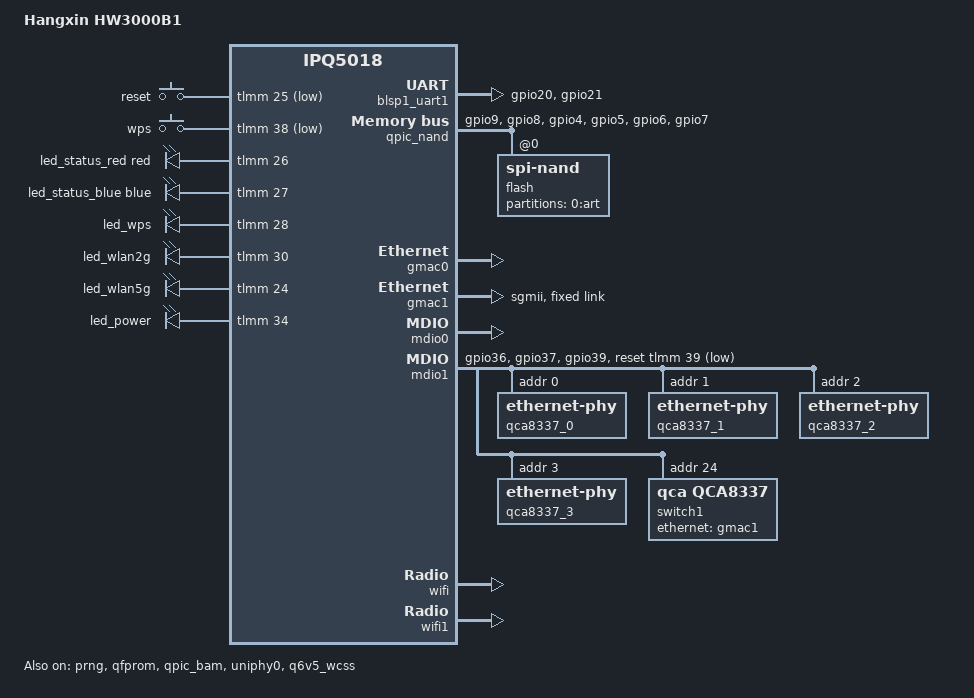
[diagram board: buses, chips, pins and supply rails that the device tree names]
// SPDX-License-Identifier: GPL-2.0-or-later OR MIT

/dts-v1/;

#include "ipq5018.dtsi"
#include "ipq5018-ess.dtsi"
#include "ipq5018-qcn6122.dtsi"
#include "ipq5018-nss.dtsi"

#include <dt-bindings/gpio/gpio.h>
#include <dt-bindings/input/input.h>
#include <dt-bindings/leds/common.h>

/*
 * Hangxin HW3000B1, booted by the stock firmware as AP-MP03.3: 256 MiB of
 * RAM, 128 MiB SPI NAND (FudanWei FM25LS01, 8-bit ECC, the ECC parameters
 * are passed by U-Boot) with the stock dual-firmware layout, QCN6122 for
 * 5 GHz. WAN is GMAC0's own GE PHY (MDIO address 7); the QCA8337 on GMAC1
 * has PHYs 0-3 on switch ports 1-4, all declared as LAN. The QCA8337's CPU
 * port is switch port 6 (SGMII). The stock vlan101 uses switch ports 2/3
 * and port 1 is the IPTV port; the socket-to-port mapping is not confirmed
 * on hardware yet.
 *
 * MAC addresses are not in 0:art (it starts with 0xff): the base MAC comes
 * from the U-Boot environment (ethaddr), set up in 02_network.
 */

/ {
	model = "Hangxin HW3000B1";
	compatible = "hangxin,hw3000b1", "qcom,ipq5018";

	reserved-memory {
		q6_region_qcn6122_1: q6-region-qcn6122-1@4d200000 {
			reg = <0x0 0x4d200000 0x0 0xd00000>;
			no-map;
		};

		m3_dump_qcn6122_1: m3-dump-qcn6122-1@4df00000 {
			reg = <0x0 0x4df00000 0x0 0x100000>;
			no-map;
		};
	};

	aliases {
		serial0 = &blsp1_uart1;
		label-mac-device = &gmac0;
		led-boot = &led_status_blue;
		led-failsafe = &led_status_red;
		led-running = &led_status_blue;
		led-upgrade = &led_status_red;
	};

	chosen {
		bootargs-append = " root=/dev/ubiblock0_1 swiotlb=1 coherent_pool=512K";
		stdout-path = "serial0:115200n8";
	};

	keys {
		compatible = "gpio-keys";
		pinctrl-0 = <&button_pins>;
		pinctrl-names = "default";

		button-reset {
			label = "reset";
			gpios = <&tlmm 25 GPIO_ACTIVE_LOW>;
			linux,code = <KEY_RESTART>;
			debounce-interval = <60>;
		};

		button-wps {
			label = "wps";
			gpios = <&tlmm 38 GPIO_ACTIVE_LOW>;
			linux,code = <KEY_WPS_BUTTON>;
			debounce-interval = <60>;
		};
	};

	leds {
		compatible = "gpio-leds";
		pinctrl-0 = <&led_pins>;
		pinctrl-names = "default";

		led_status_red: led-red {
			color = <LED_COLOR_ID_RED>;
			function = LED_FUNCTION_STATUS;
			gpios = <&tlmm 26 GPIO_ACTIVE_HIGH>;
		};

		led_status_blue: led-blue {
			color = <LED_COLOR_ID_BLUE>;
			function = LED_FUNCTION_STATUS;
			gpios = <&tlmm 27 GPIO_ACTIVE_HIGH>;
		};

		/*
		 * The stock DTB gives these four LEDs a label only (led_wps,
		 * led_2g, led_5g, led_power), so their colour is not known;
		 * they carry the function only, which is also the LED name:
		 * wps, wlan-2ghz, wlan-5ghz and power. Not confirmed on
		 * hardware yet.
		 */
		led_wps: led-wps {
			function = LED_FUNCTION_WPS;
			gpios = <&tlmm 28 GPIO_ACTIVE_HIGH>;
		};

		led_wlan2g: led-wlan-2g {
			function = LED_FUNCTION_WLAN_2GHZ;
			gpios = <&tlmm 30 GPIO_ACTIVE_HIGH>;
		};

		led_wlan5g: led-wlan-5g {
			function = LED_FUNCTION_WLAN_5GHZ;
			gpios = <&tlmm 24 GPIO_ACTIVE_HIGH>;
		};

		led_power: led-power {
			function = LED_FUNCTION_POWER;
			gpios = <&tlmm 34 GPIO_ACTIVE_HIGH>;
			default-state = "on";
		};
	};
};

/* the stock TZ takes 4 MiB here (upstream reserves 2 MiB) */
&tz_region {
	reg = <0x0 0x4ac00000 0x0 0x400000>;
};

&sleep_clk {
	clock-frequency = <32000>;
};

&xo_board_clk {
	clock-div = <4>;
	clock-mult = <1>;
};

&blsp1_uart1 {
	status = "okay";

	pinctrl-0 = <&serial_0_pins>;
	pinctrl-names = "default";
};

&prng {
	status = "okay";
};

&qfprom {
	status = "okay";
};

&qpic_bam {
	status = "okay";
};

&qpic_nand {
	pinctrl-0 = <&qpic_pins>;
	pinctrl-names = "default";
	status = "okay";

	flash@0 {
		compatible = "spi-nand";
		reg = <0>;
		nand-ecc-engine = <&qpic_nand>;
		nand-bus-width = <8>;

		partitions {
			compatible = "qcom,smem-part";

			partition-0-art {
				label = "0:art";
				read-only;
			};
		};
	};
};

&uniphy0 {
	status = "okay";

	assigned-clocks = <&uniphy0 UNIPHY_CLK_REF>;
	assigned-clock-rates = <UNIPHY_REFCLK_25MHZ>;
};

/* MAC0 -> IPQ5018 GE PHY (WAN) */
&gmac0 {
	status = "okay";

	label = "wan";
};

/* MAC1 ---SGMII---> QCA8337 port 6 */
&gmac1 {
	status = "okay";

	phy-mode = "sgmii";

	fixed-link {
		speed = <1000>;
		full-duplex;
	};
};

&mdio0 {
	status = "okay";
};

&mdio1 {
	status = "okay";

	pinctrl-0 = <&mdio1_pins>, <&switch_reset_pins>;
	pinctrl-names = "default";
	reset-gpios = <&tlmm 39 GPIO_ACTIVE_LOW>;
	reset-delay-us = <10000>;
	reset-post-delay-us = <10000>;

	qca8337_0: ethernet-phy@0 {
		reg = <0>;
	};

	qca8337_1: ethernet-phy@1 {
		reg = <1>;
	};

	qca8337_2: ethernet-phy@2 {
		reg = <2>;
	};

	qca8337_3: ethernet-phy@3 {
		reg = <3>;
	};

	switch1: ethernet-switch@18 {
		compatible = "qca,qca8337";
		reg = <0x18>;
		#address-cells = <1>;
		#size-cells = <0>;

		ethernet-ports {
			#address-cells = <1>;
			#size-cells = <0>;

			/*
			 * The stock switch configuration puts the LAN on
			 * vlan101 with ports 2/3 and uses port 1 as the IPTV
			 * port. All four ports are declared as LAN; which
			 * socket is which port is not confirmed on hardware
			 * yet.
			 */
			ethernet-port@1 {
				reg = <1>;
				label = "lan1";
				phy-handle = <&qca8337_0>;
			};

			ethernet-port@2 {
				reg = <2>;
				label = "lan2";
				phy-handle = <&qca8337_1>;
			};

			ethernet-port@3 {
				reg = <3>;
				label = "lan3";
				phy-handle = <&qca8337_2>;
			};

			ethernet-port@4 {
				reg = <4>;
				label = "lan4";
				phy-handle = <&qca8337_3>;
			};

			ethernet-port@6 {
				reg = <6>;
				phy-mode = "sgmii";
				ethernet = <&gmac1>;
				qca,sgmii-enable-pll;

				fixed-link {
					speed = <1000>;
					full-duplex;
				};
			};
		};
	};
};

&tlmm {
	button_pins: button-state {
		button-pins {
			pins = "gpio25", "gpio38";
			function = "gpio";
			drive-strength = <8>;
			bias-pull-up;
		};
	};

	led_pins: led-state {
		pins = "gpio24", "gpio26", "gpio27", "gpio28", "gpio30",
		       "gpio34";
		function = "gpio";
		drive-strength = <8>;
		bias-pull-down;
	};

	mdio1_pins: mdio-state {
		mdc-pins {
			pins = "gpio36";
			function = "mdc";
			drive-strength = <8>;
			bias-pull-up;
		};

		mdio-pins {
			pins = "gpio37";
			function = "mdio";
			drive-strength = <8>;
			bias-pull-up;
		};
	};

	switch_reset_pins: switch-reset-state {
		pins = "gpio39";
		function = "gpio";
		drive-strength = <8>;
		bias-pull-down;
	};

	qpic_pins: qpic-state {
		clock-pins {
			pins = "gpio9";
			function = "qspi_clk";
			drive-strength = <8>;
			bias-disable;
		};

		cs-pins {
			pins = "gpio8";
			function = "qspi_cs";
			drive-strength = <8>;
			bias-disable;
		};

		data-pins {
			pins = "gpio4", "gpio5", "gpio6", "gpio7";
			function = "qspi_data";
			drive-strength = <8>;
			bias-disable;
		};
	};

	serial_0_pins: uart0-state {
		pins = "gpio20", "gpio21";
		function = "blsp0_uart0";
		drive-strength = <8>;
		bias-disable;
	};

};

&q6v5_wcss {
	/* QCN6122 on PCIe1 as user PD 2, reset on GPIO18 (stock mp03.3) */
	boot-args = <0x2 4 2 18 0 0>;
	status = "okay";
};

/* 256 MiB of RAM: low-memory firmware mode */
&wifi {
	status = "okay";

	qcom,rproc = <&q6v5_wcss>;
	qcom,ath11k-calibration-variant = "HANGXIN-HW3000B1";
	qcom,ath11k-fw-memory-mode = <2>;

	ieee80211-freq-limit = <2400000 2483000>;
};

&wifi1 {
	status = "okay";

	qcom,rproc = <&q6v5_wcss>;
	qcom,ath11k-calibration-variant = "HANGXIN-HW3000B1";
	qcom,ath11k-fw-memory-mode = <2>;

	ieee80211-freq-limit = <5150000 5850000>;

	memory-region = <&q6_region_qcn6122_1>, <&q6_region_ipq5018>, <&m3_dump_qcn6122_1>;
	memory-region-names = "q6-region", "m3-region", "m3-dump";
};

/* 256 MiB of RAM: NSS heap 8 MiB, as in the stock reserved-memory */
&nss_region {
	reg = <0x0 0x40000000 0x0 0x800000>;
};
